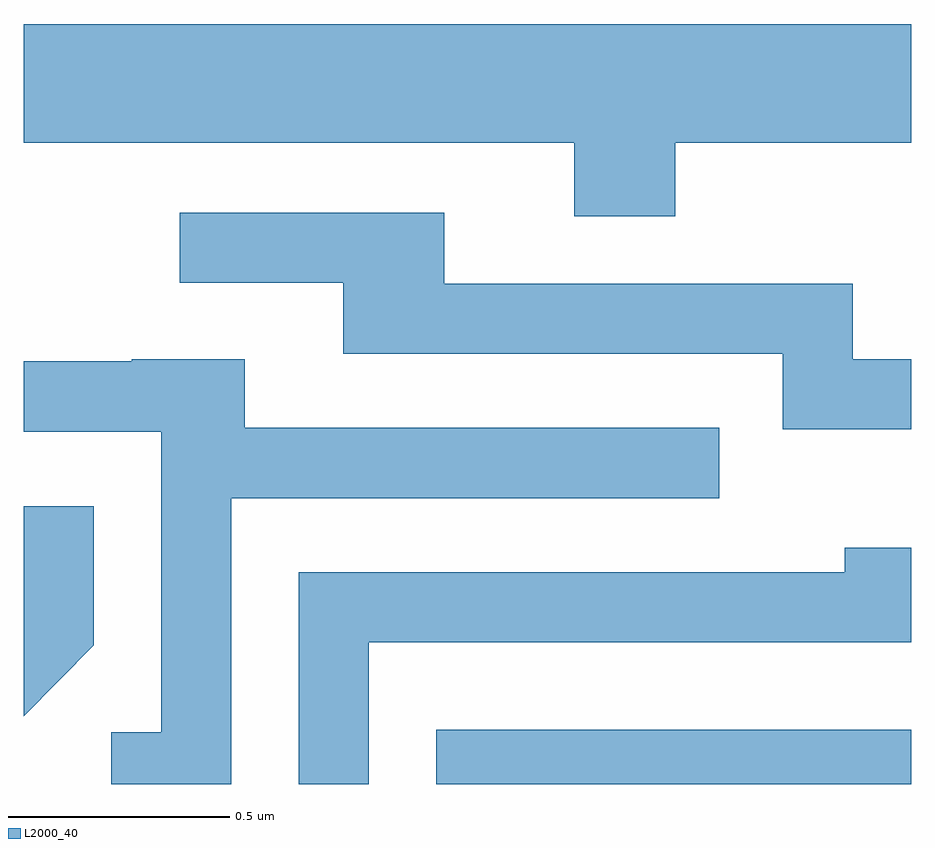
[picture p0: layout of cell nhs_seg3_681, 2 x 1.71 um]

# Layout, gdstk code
import gdstk
lib = gdstk.Library(unit=1e-6, precision=1e-09)
def R(c, l, rs):  # rectangles x0, y0, x1, y1
    for r in rs: c.add(gdstk.rectangle(r[:2], r[2:], *l))
def P(c, l, *ps):  # polygons
    for p in ps: c.add(gdstk.Polygon(p, *l))
L2000_40 = (2000, 40)

nhs_seg3_681 = lib.new_cell('nhs_seg3_681')
R(nhs_seg3_681, L2000_40, [(190.541,1248.892,191.611,1249.014)])
P(nhs_seg3_681, L2000_40, [(191.079,1250.336),(191.611,1250.336),(191.611,1250.604),(189.611,1250.604),(189.611,1250.336),(190.851,1250.336),(190.851,1250.171),(191.079,1250.171)],
  [(191.611,1249.849),(191.479,1249.849),(191.479,1250.019),(190.559,1250.019),(190.559,1250.179),(189.963,1250.179),(189.963,1250.021),(190.331,1250.021),(190.331,1249.861),(191.321,1249.861),(191.321,1249.691),(191.611,1249.691)],
  [(190.079,1249.536),(191.178,1249.536),(191.178,1249.694),(190.109,1249.694),(190.109,1249.849),(189.855,1249.849),(189.855,1249.844),(189.611,1249.844),(189.611,1249.686),(189.921,1249.686),(189.921,1249.009),(189.808,1249.009),(189.808,1248.892),(190.079,1248.892)],
  [(189.769,1249.204),(189.769,1249.518),(189.611,1249.518),(189.611,1249.045)],
  [(190.389,1249.211),(191.611,1249.211),(191.611,1249.424),(191.461,1249.424),(191.461,1249.369),(190.231,1249.369),(190.231,1248.892),(190.389,1248.892)])

lib.write_gds('nhs_seg3_681.gds')
